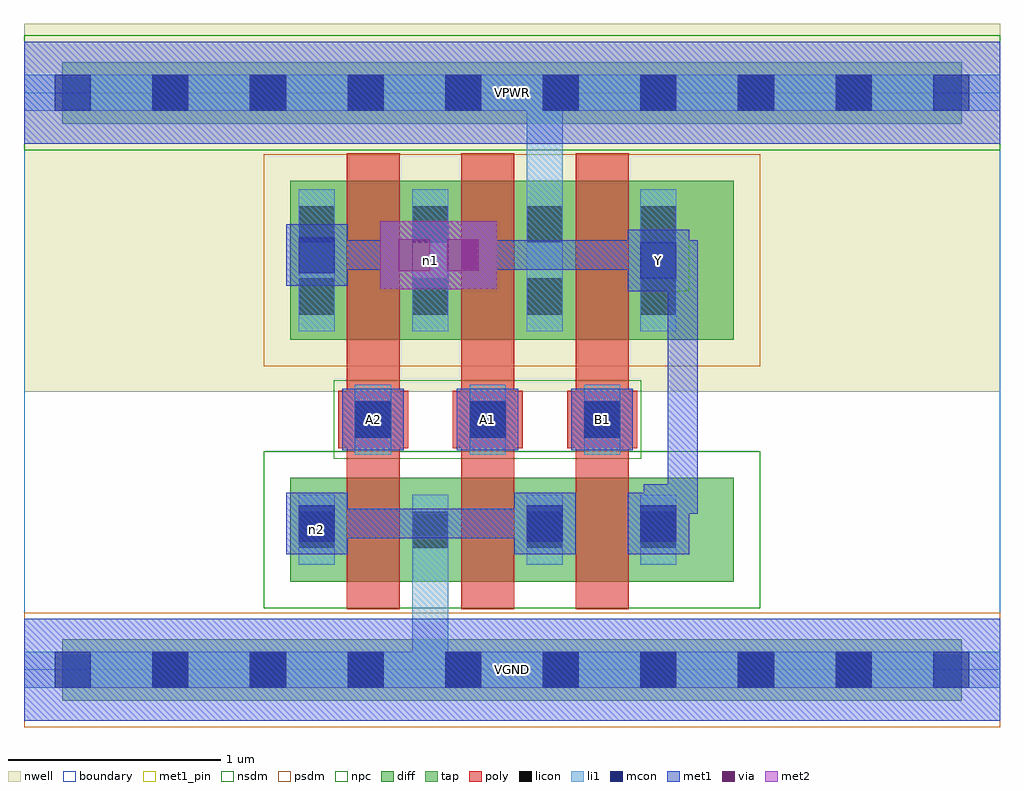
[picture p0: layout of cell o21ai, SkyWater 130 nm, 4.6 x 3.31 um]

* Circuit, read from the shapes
.subckt o21ai A1 A2 B1 VGND VPWR Y n1 n2
XM1 VGND A2 n2 VGND sky130_fd_pr__nfet_01v8 w=0.49 l=0.25
XM2 n2 A1 VGND VGND sky130_fd_pr__nfet_01v8 w=0.49 l=0.25
XM3 Y B1 n2 VGND sky130_fd_pr__nfet_01v8 w=0.49 l=0.25
XM4 n1 A2 Y VPWR sky130_fd_pr__pfet_01v8 w=0.75 l=0.25
XM5 VPWR A1 n1 VPWR sky130_fd_pr__pfet_01v8 w=0.75 l=0.25
XM6 Y B1 VPWR VPWR sky130_fd_pr__pfet_01v8 w=0.75 l=0.25
.ends

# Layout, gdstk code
import gdstk
lib = gdstk.Library(unit=1e-6, precision=1e-09)
def R(c, l, rs):  # rectangles x0, y0, x1, y1
    for r in rs: c.add(gdstk.rectangle(r[:2], r[2:], *l))
def A(c, l, x, y, w, h, nx, ny, dx, dy):  # array of equal rectangles
    R(c, l, [(x+i*dx, y+j*dy, x+i*dx+w, y+j*dy+h) for i in range(nx) for j in range(ny)])
nwell = (64, 20)
diff = (65, 20)
tap = (65, 44)
poly = (66, 20)
licon = (66, 44)
li1 = (67, 20)
mcon = (67, 44)
met1_pin = (68, 16)
met1 = (68, 20)
via = (68, 44)
met2 = (69, 20)
nsdm = (93, 44)
psdm = (94, 20)
npc = (95, 20)
boundary = (235, 4)

o21ai = lib.new_cell('o21ai')
R(o21ai, nwell, [(0,1.31,4.6,3.045)])
R(o21ai, diff, [(1.255,0.415,3.345,0.905), (1.255,1.555,3.345,2.305)])
R(o21ai, tap, [(0.18,-0.145,4.42,0.145), (0.18,2.575,4.42,2.865)])
A(o21ai, poly, 1.52, 0.285, 0.25, 2.15, 3, 1, 0.54, 0)
A(o21ai, poly, 1.48, 1.045, 0.33, 0.27, 3, 1, 0.54, 0)
A(o21ai, licon, 0.605, -0.085, 0.17, 0.17, 8, 2, 0.46, 2.72)
A(o21ai, licon, 1.56, 1.095, 0.17, 0.17, 3, 1, 0.54, 0)
R(o21ai, licon, [(1.295,0.575,1.465,0.745), (1.83,0.575,2,0.745), (2.37,0.575,2.54,0.745), (2.905,0.575,3.075,0.745), (1.295,1.675,1.465,1.845), (1.83,1.675,2,1.845), (2.37,1.675,2.54,1.845), (2.905,1.675,3.075,1.845), (1.295,2.015,1.465,2.185), (1.83,2.015,2,2.185), (2.37,2.015,2.54,2.185), (2.905,2.015,3.075,2.185)])
A(o21ai, li1, 1.56, 1.015, 0.17, 0.33, 3, 1, 0.54, 0)
R(o21ai, li1, [(0,-0.085,4.6,0.085), (1.83,-0.085,2,0.825), (1.295,0.495,1.465,0.825), (1.83,0.495,2,0.825), (2.37,0.495,2.54,0.825), (2.905,0.495,3.075,0.825), (1.295,1.595,1.465,2.265), (1.83,1.595,2,2.265), (2.37,1.595,2.54,2.265), (2.37,1.595,2.54,2.805), (2.905,1.595,3.075,2.265), (0,2.635,4.6,2.805)])
A(o21ai, mcon, 0.145, -0.085, 0.17, 0.17, 10, 2, 0.46, 2.72)
A(o21ai, mcon, 1.56, 1.095, 0.17, 0.17, 3, 1, 0.54, 0)
R(o21ai, mcon, [(1.295,0.605,1.465,0.775), (2.37,0.605,2.54,0.775), (2.905,0.605,3.075,0.775), (2.905,1.845,3.075,2.015), (1.295,1.87,1.465,2.04)])
A(o21ai, met1_pin, 1.5, 1.035, 0.29, 0.29, 3, 1, 0.54, 0)
R(o21ai, met1_pin, [(0,-0.24,4.6,0.24), (2.845,1.785,3.135,2.075), (0,2.48,4.6,2.96)])
A(o21ai, met1, 1.5, 1.035, 0.29, 0.29, 3, 1, 0.54, 0)
R(o21ai, met1, [(0,-0.24,4.6,0.24), (1.235,0.545,1.525,0.835), (2.31,0.545,2.6,0.835), (2.845,0.545,3.135,0.835), (1.31,0.62,2.37,0.76), (2.23,0.62,2.525,0.76), (2.92,0.62,3.06,0.875), (2.92,0.735,3.175,0.875), (3.035,0.735,3.175,2.025), (2.845,1.785,3.135,2.075), (1.68,1.795,2,2.115), (1.91,1.795,2.23,2.115), (1.235,1.81,1.525,2.1), (1.31,1.885,1.91,2.025), (2,1.885,3.06,2.025), (2.92,1.885,3.06,2.025), (2.92,1.885,3.175,2.025), (0,2.48,4.6,2.96)])
R(o21ai, via, [(1.765,1.88,1.915,2.03), (1.995,1.88,2.145,2.03)])
R(o21ai, met2, [(1.68,1.795,2,2.115), (1.91,1.795,2.23,2.115), (1.77,1.885,2.14,2.025)])
R(o21ai, nsdm, [(1.13,0.29,3.47,1.03), (0,2.45,4.6,2.99)])
R(o21ai, psdm, [(0,-0.27,4.6,0.27), (1.13,1.43,3.47,2.43)])
R(o21ai, npc, [(1.46,0.995,2.91,1.365)])
R(o21ai, boundary, [(0,0,4.6,2.72)])
o21ai.add(gdstk.Label('n2', (1.38,0.66), layer=67, texttype=5))
o21ai.add(gdstk.Label('n1', (1.915,1.93), layer=67, texttype=5))
o21ai.add(gdstk.Label('A1', (2.185,1.18), layer=68, texttype=5))
o21ai.add(gdstk.Label('A2', (1.645,1.18), layer=68, texttype=5))
o21ai.add(gdstk.Label('B1', (2.725,1.18), layer=68, texttype=5))
o21ai.add(gdstk.Label('Y', (2.99,1.93), layer=68, texttype=5))
o21ai.add(gdstk.Label('VPWR', (2.3,2.72), layer=68, texttype=5))
o21ai.add(gdstk.Label('VGND', (2.3,0), layer=68, texttype=5))
o21ai.add(gdstk.Label('A1', (2.185,1.18), layer=68, texttype=16))
o21ai.add(gdstk.Label('A2', (1.645,1.18), layer=68, texttype=16))
o21ai.add(gdstk.Label('B1', (2.725,1.18), layer=68, texttype=16))
o21ai.add(gdstk.Label('Y', (2.99,1.93), layer=68, texttype=16))
o21ai.add(gdstk.Label('VPWR', (2.3,2.72), layer=68, texttype=16))
o21ai.add(gdstk.Label('VGND', (2.3,0), layer=68, texttype=16))

lib.write_gds('o21ai.gds')
